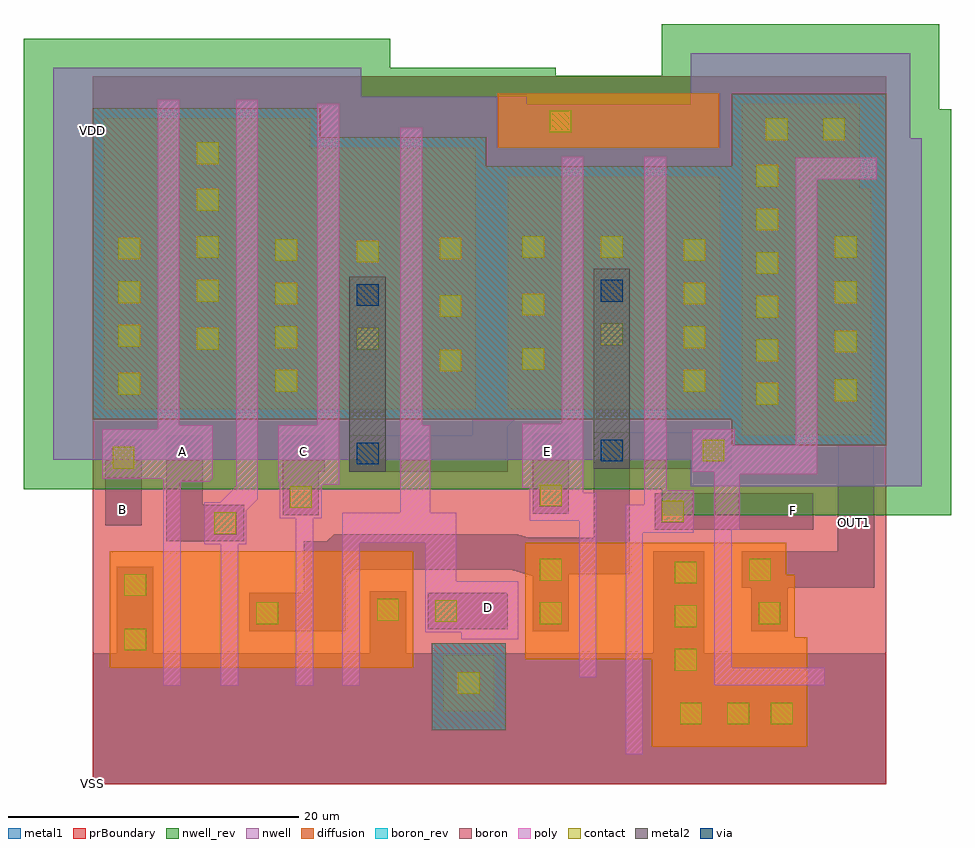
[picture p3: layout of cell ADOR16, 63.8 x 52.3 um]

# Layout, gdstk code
import gdstk
lib = gdstk.Library(unit=1e-6, precision=1e-09)
def R(c, l, rs):  # rectangles x0, y0, x1, y1
    for r in rs: c.add(gdstk.rectangle(r[:2], r[2:], *l))
def A(c, l, x, y, w, h, nx, ny, dx, dy):  # array of equal rectangles
    R(c, l, [(x+i*dx, y+j*dy, x+i*dx+w, y+j*dy+h) for i in range(nx) for j in range(ny)])
def P(c, l, *ps):  # polygons
    for p in ps: c.add(gdstk.Polygon(p, *l))
nwell = (1, 0)
diffusion = (2, 0)
nwell_rev = (3, 0)
poly = (4, 0)
boron = (5, 0)
boron_rev = (6, 0)
contact = (7, 0)
metal1 = (8, 0)
via = (9, 0)
metal2 = (10, 0)
prBoundary = (28, 0)

ador16 = lib.new_cell('ADOR16')
P(ador16, nwell, [(41.15,20.5),(41.15,22.3),(-2.75,22.3),(-2.75,49.3),(18.45,49.3),(18.45,47.3),(29.85,47.3),(29.85,46.75),(41.15,46.75),(41.15,50.3),(56.25,50.3),(56.25,44.45),(57.05,44.45),(57.05,20.5)])
R(ador16, diffusion, [(24.1,5,27.6,8.85), (1.15,8,22.05,16), (28.55,25.8,43.15,41.8), (27.85,43.8,43.1,47.55)])
P(ador16, diffusion, [(0.75,25.8),(0.75,45.8),(14.95,45.8),(14.95,43.8),(26.35,43.8),(26.35,25.8)],
  [(44.65,24),(44.65,46.8),(52.75,46.8),(52.75,40.95),(53.55,40.95),(53.55,24)],
  [(38.45,2.55),(38.45,8.6),(29.75,8.6),(29.75,16.6),(47.7,16.6),(47.7,14.4),(48.3,14.4),(48.3,10.1),(49.15,10.1),(49.15,2.55)])
P(ador16, nwell_rev, [(39.15,18.5),(39.15,20.3),(-4.75,20.3),(-4.75,51.3),(20.45,51.3),(20.45,49.3),(31.85,49.3),(31.85,48.75),(39.15,48.75),(39.15,52.3),(58.25,52.3),(58.25,46.45),(59.05,46.45),(59.05,18.5)])
P(ador16, poly, [(8.8,6.75),(8.8,16.5),(7.65,16.5),(7.65,19.4),(8.75,19.4),(9.85,20.5),(9.85,47.1),(11.35,47.1),(11.35,19.6),(10.55,18.8),(10.55,16.5),(10,16.5),(10,6.75)],
  [(4.85,6.75),(4.85,21),(0.65,21),(0.65,24.4),(4.45,24.4),(4.45,47.1),(5.95,47.1),(5.95,24.7),(8.25,24.7),(8.25,21.05),(8,20.8),(6.05,20.8),(6.05,6.75)],
  [(36.65,2.05),(36.65,19.2),(37.95,19.2),(37.95,43.15),(39.45,43.15),(39.45,24.6),(39.5,24.6),(39.5,20.2),(41.35,20.2),(41.35,17.3),(37.85,17.3),(37.85,2.05)],
  [(33.45,7.35),(33.45,18.1),(30.05,18.1),(30.05,20.4),(29.55,20.4),(29.55,24.8),(32.25,24.8),(32.25,43.15),(33.75,43.15),(33.75,20.05),(34.65,20.05),(34.65,7.35)],
  [(17.15,6.75),(17.15,18.65),(21.15,18.65),(21.15,45.15),(22.65,45.15),(22.65,24.7),(23.2,24.7),(23.2,18.65),(25,18.65),(25,13.95),(29.25,13.95),(29.25,9.95),(25.35,9.95),(25.35,10.45),(22.85,10.45),(22.85,16.6),(18.35,16.6),(18.35,6.75)],
  [(13.95,6.75),(13.95,18.3),(12.85,18.3),(12.85,20.85),(12.75,20.85),(12.75,24.7),(15.45,24.7),(15.45,46.8),(16.95,46.8),(16.95,20.6),(15.75,20.6),(15.75,18.3),(15.15,18.3),(15.15,6.75)],
  [(42.75,6.8),(42.75,21.5),(41.25,21.5),(41.25,24.4),(44.15,24.4),(44.15,23.3),(48.35,23.3),(48.35,43.1),(53.95,43.1),(53.95,41.6),(49.85,41.6),(49.85,21.3),(44.5,21.3),(44.5,17.5),(43.95,17.5),(43.95,8),(50.35,8),(50.35,6.8)])
R(ador16, boron, [(23.3,3.7,28.4,9.7)])
P(ador16, boron, [(43.95,23.3),(43.95,25.1),(0,25.1),(0,46.5),(15.65,46.5),(15.65,44.5),(27.05,44.5),(27.05,42.5),(43.95,42.5),(43.95,47.5),(54.6,47.5),(54.6,23.3)])
R(ador16, boron_rev, [(23.3,3.7,28.4,9.7)])
P(ador16, boron_rev, [(43.95,23.3),(43.95,25.1),(0,25.1),(0,46.5),(15.65,46.5),(15.65,44.5),(27.05,44.5),(27.05,42.5),(43.95,42.5),(43.95,47.5),(54.6,47.5),(54.6,23.3)])
A(ador16, contact, 40.05, 7.8, 1.5, 1.5, 1, 3, 0, 3)
A(ador16, contact, 45.65, 26.1, 1.5, 1.5, 1, 6, 0, 3)
A(ador16, contact, 12.55, 27, 1.5, 1.5, 1, 4, 0, 3)
A(ador16, contact, 40.65, 27, 1.5, 1.5, 1, 4, 0, 3)
A(ador16, contact, 1.75, 30.1, 1.5, 1.5, 1, 3, 0, 3)
R(ador16, contact, [(40.4,4.1,41.9,5.6), (43.65,4.1,45.15,5.6), (46.65,4.1,48.15,5.6), (25.1,6.2,26.6,7.7), (2.15,9.2,3.65,10.7), (11.25,11,12.75,12.5), (30.75,11,32.25,12.5), (45.8,11,47.3,12.5), (23.55,11.15,25.05,12.65), (19.55,11.25,21.05,12.75), (2.15,12.95,3.65,14.45), (30.75,14,32.25,15.5), (45.15,14,46.65,15.5), (8.35,17.2,9.85,18.7), (39.15,18,40.65,19.5), (13.55,19,15.05,20.5), (30.75,19.1,32.25,20.6), (1.35,21.7,2.85,23.2), (41.95,22.2,43.45,23.7), (51.05,26.35,52.55,27.85), (1.75,26.8,3.25,28.3), (23.85,28.4,25.35,29.9), (29.55,28.5,31.05,30), (51.05,29.7,52.55,31.2), (7.15,29.9,8.65,31.4), (18.15,29.9,19.65,31.4), (34.95,30.2,36.45,31.7), (23.85,32.15,25.35,33.65), (29.55,32.25,31.05,33.75), (51.05,33.1,52.55,34.6), (7.15,33.2,8.65,34.7), (18.15,35.9,19.65,37.4), (23.85,36.1,25.35,37.6), (7.15,36.2,8.65,37.7), (29.55,36.2,31.05,37.7), (34.95,36.2,36.45,37.7), (51.05,36.2,52.55,37.7), (7.15,39.45,8.65,40.95), (7.15,42.65,8.65,44.15), (46.3,44.3,47.8,45.8), (50.25,44.3,51.75,45.8), (31.4,44.85,32.9,46.35)])
R(ador16, metal1, [(0,0,54.6,9), (51.25,16.8,53.75,19.3), (38.65,17.5,49.55,20), (0.85,17.8,3.35,23.7), (30.25,18.6,32.75,24.1), (17.65,29.4,20.15,37.9), (34.45,29.7,36.95,38.2), (0,39.7,54.6,48.7)])
P(ador16, metal1, [(0,0),(0,9),(1.65,9),(1.65,14.95),(4.15,14.95),(4.15,9),(19.05,9),(19.05,13.25),(21.55,13.25),(21.55,9),(38.55,9),(38.55,16),(42.05,16),(42.05,9),(54.6,9),(54.6,0)],
  [(45.15,25.6),(45.15,39.7),(9.15,39.7),(9.15,29.4),(6.65,29.4),(6.65,39.7),(0,39.7),(0,48.7),(54.6,48.7),(54.6,39.7),(47.65,39.7),(47.65,25.6)],
  [(45.3,10.5),(45.3,13.5),(44.65,13.5),(44.65,16),(51.25,16),(51.25,25.85),(50.55,25.85),(50.55,38.2),(53.05,38.2),(53.05,32.4),(53.75,32.4),(53.75,13.5),(47.8,13.5),(47.8,10.5)],
  [(10.75,10.5),(10.75,13.15),(14.5,13.15),(14.5,16.7),(16.102,16.7),(16.602,17.2),(29.196,17.2),(30.015,16.95),(34.45,16.95),(34.45,24.2),(43.95,24.2),(43.95,21.7),(36.95,21.7),(36.95,14.45),(32.75,14.45),(32.75,10.5),(30.25,10.5),(30.25,14.3),(28.777,14.75),(17.9,14.75),(17.4,14.25),(17.4,10.5)],
  [(17.65,21.5),(17.65,24),(26.1,24),(26.1,25.636),(28.75,28.286),(28.75,38.2),(31.55,38.2),(31.55,28.2),(40.15,28.2),(40.15,38),(42.65,38),(42.65,25.7),(29.65,25.7),(28.55,24.6),(28.55,21.5)],
  [(23.05,10.65),(23.05,13.15),(28.45,13.15),(28.55,13.05),(28.55,10.65)],
  [(13.05,18.5),(13.05,24),(15.95,24),(15.95,21.5),(15.55,21.5),(15.55,18.5)],
  [(5.05,16.7),(5.05,24),(7.55,24),(7.55,19.2),(10.4,19.2),(10.4,16.7)],
  [(1.25,25.5),(1.25,38.1),(3.75,38.1),(3.75,27.9),(12.05,27.9),(12.05,38),(14.55,38),(14.55,27.9),(20.9,27.9),(23.3,30.3),(23.3,38.1),(25.85,38.1),(25.85,27.9),(23.45,25.5)])
R(ador16, via, [(18.15,22,19.65,23.5), (34.95,22.2,36.45,23.7), (18.15,32.9,19.65,34.4), (34.95,33.2,36.45,34.7)])
R(ador16, metal2, [(17.65,21.5,20.15,34.9), (34.45,21.7,36.95,35.45)])
R(ador16, prBoundary, [(0,0,54.6,48.7)])
ador16.add(gdstk.Label('VSS', (0.001,0.001), layer=8, texttype=7))
ador16.add(gdstk.Label('VDD', (0.002,45), layer=8, texttype=7))
ador16.add(gdstk.Label('F', (48.2,18.8), layer=8, texttype=7))
ador16.add(gdstk.Label('B', (2.05,18.9), layer=8, texttype=7))
ador16.add(gdstk.Label('A', (6.15,22.85), layer=8, texttype=7))
ador16.add(gdstk.Label('C', (14.5,22.9), layer=8, texttype=7))
ador16.add(gdstk.Label('D', (27.25,12.15), layer=8, texttype=7))
ador16.add(gdstk.Label('E', (31.25,22.85), layer=8, texttype=7))
ador16.add(gdstk.Label('OUT1', (52.4,18), layer=8, texttype=7))

lib.write_gds('ADOR16.gds')
